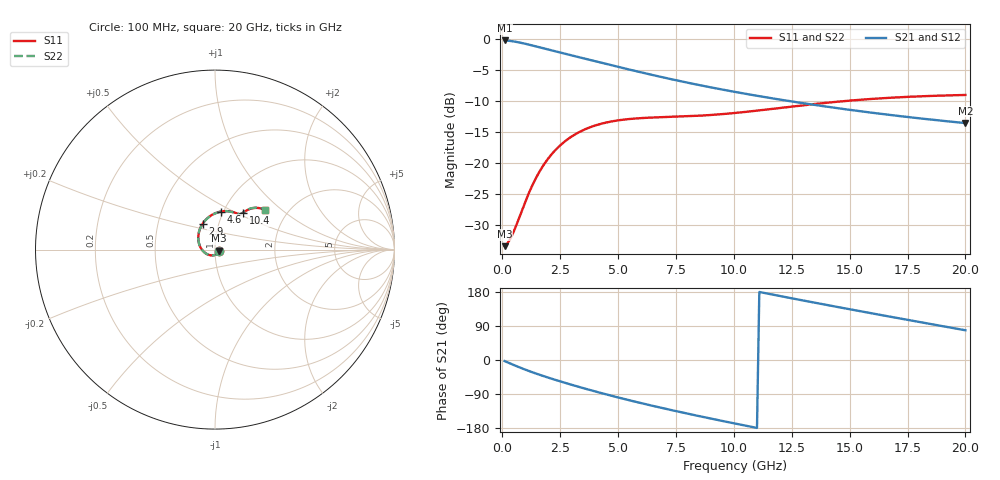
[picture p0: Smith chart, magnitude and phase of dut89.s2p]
! Touchstone file exported from HFSS 2023.1.0
!  File:  D:/Users/fzz/RDL_TSV/temp_RDL_TSV_89_1778748172.aedt
!  Generated:  4:54:01 %x4E0B%x5348  5%x6708 14, 2026
!  Design:  RDL_TSV
!  Project:  temp_RDL_TSV_89_1778748172
!  Setup:  Setup1
!  Solution:  Sweep
! Variables:
!  dtsv = 17.86um
!  hbump = 3um
!  htsv = 97.39um
!  ldown = 481.9um
!  lrdl = 524.84um
!  p = 40
!  p1 = 52.16um
!  rhole = 10um
!  subl = 3545.06um
!  t = 450um
!  tdown = 4.53um
!  trdl = 2.54um
!  viad = 10um
!  wdown = 17.62um
!  wrdl = 19.85um
!  xbump = 18um
# GHz S MA R 50.000000
! Terminal data exported
! Port[1] = TM1_1_T1
! Port[2] = TM1_4_T1
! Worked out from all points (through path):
!   200 points, 100 MHz to 20 GHz, reference 50 ohm
!   highest |S21| = -0.19 dB at 100 MHz (marker M1); lowest = -13.5 dB at 20 GHz (marker M2)
!   group delay of S21, straight-line fit = 36.8 ps
!   lowest |S11| = -33.4 dB at 100 MHz (marker M3), VSWR 1.04, Z = 52.1 - j0.651 ohm
!   |S11| at or under -10 dB: start of sweep to 14.71 GHz
!   |S22| runs from -33.4 to -9.0 dB; largest |S21 - S12| = 1.2e-14
!   S11 on the Smith chart (normalised r, x): 100 MHz: 1.04, -0.01; 2.9 GHz: 0.84, +0.25; 4.6 GHz: 0.98, +0.43; 10.4 GHz: 1.24, +0.54; 20 GHz: 1.53, +0.78
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0.1  0.02139 -17.0  0.9779 -2.8  0.9779 -2.8  0.0214 -17.0
! Gamma 0 0 0 0
! Port Impedance 50 0 50 0
0.4  0.02571 -68.1  0.9659 -10.8  0.9659 -10.8  0.02572 -68.1
0.8  0.0393 -125.2  0.9368 -20.9  0.9368 -20.9  0.0393 -125.1
1.1  0.05462 -156.0  0.9096 -27.9  0.9096 -27.9  0.05458 -155.9
1.4  0.07247 -179.2  0.8808 -34.6  0.8808 -34.6  0.07236 -179.1
1.7  0.0913 162.6  0.8523 -40.8  0.8523 -40.8  0.09113 162.7
2.1  0.1161 143.4  0.8157 -48.8  0.8157 -48.8  0.1159 143.5
2.5  0.1392 128.2  0.7812 -56.4  0.7812 -56.4  0.1388 128.2
2.9  0.1597 115.7  0.7484 -63.7  0.7484 -63.7  0.1593 115.7
3.5  0.185 100.6  0.7022 -74.3  0.7022 -74.3  0.1844 100.7
4.6  0.215 80.8  0.6248 -92.5  0.6248 -92.5  0.2141 80.9
5.7  0.229 68.1  0.5571 -109.4  0.5571 -109.4  0.228 68.2
6.8  0.2347 60.3  0.4992 -125.2  0.4992 -125.2  0.2336 60.5
8.3  0.2405 55.2  0.4346 -145.5  0.4346 -145.5  0.2394 55.4
10.1  0.2547 53.0  0.3744 -168.3  0.3744 -168.3  0.2539 53.3
10.4  0.258 52.7  0.3658 -172.0  0.3658 -172.0  0.2573 53.0
11.9  0.2776 51.3  0.328 169.9  0.328 169.9  0.2772 51.6
13.4  0.299 49.3  0.2969 152.3  0.2969 152.3  0.2989 49.6
15  0.3197 46.5  0.2695 134.0  0.2695 134.0  0.3199 46.8
16.7  0.3368 43.4  0.2456 114.8  0.2456 114.8  0.3372 43.6
18.3  0.3478 40.7  0.227 97.1  0.227 97.1  0.3483 40.9
20  0.3552 38.5  0.2107 78.5  0.2107 78.5  0.3558 38.6
